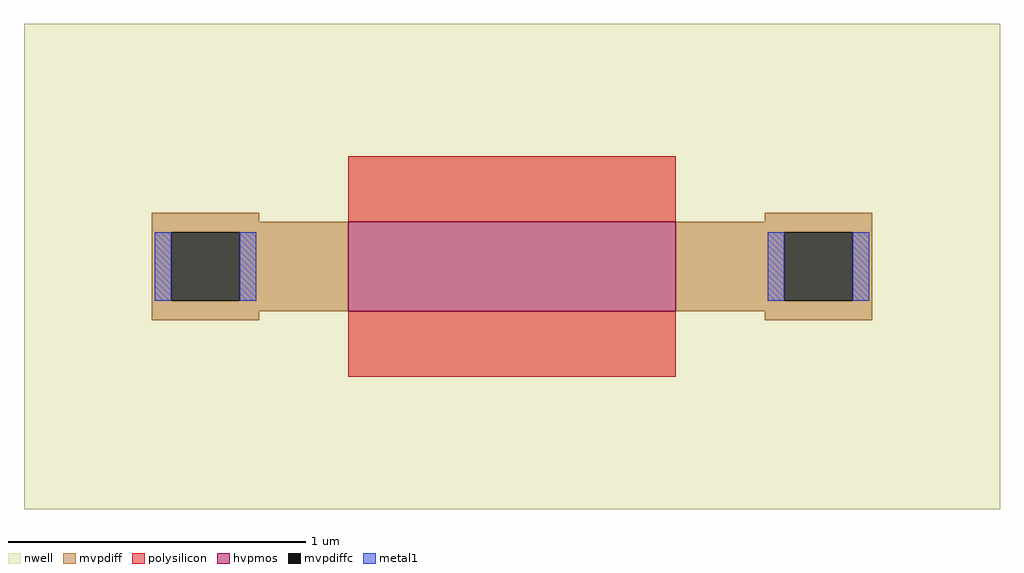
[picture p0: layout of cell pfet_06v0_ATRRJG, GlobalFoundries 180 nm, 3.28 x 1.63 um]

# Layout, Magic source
magic
tech gf180mcuD
magscale 1 10
<< nwell >>
rect -328 -163 328 163
<< hvpmos >>
rect -110 -30 110 30
<< mvpdiff >>
rect -242 30 -170 36
rect 170 30 242 36
rect -242 23 -110 30
rect -242 -23 -229 23
rect -183 -23 -110 23
rect -242 -30 -110 -23
rect 110 23 242 30
rect 110 -23 183 23
rect 229 -23 242 23
rect 110 -30 242 -23
rect -242 -36 -170 -30
rect 170 -36 242 -30
<< mvpdiffc >>
rect -229 -23 -183 23
rect 183 -23 229 23
<< polysilicon >>
rect -110 30 110 74
rect -110 -74 110 -30
<< metal1 >>
rect -240 -23 -229 23
rect -183 -23 -172 23
rect 172 -23 183 23
rect 229 -23 240 23
<< properties >>
string gencell pfet_06v0
string library gf180mcu
string parameters w 0.3 l 1.1 m 1 nf 1 diffcov 100 polycov 100 guard 0 glc 0 grc 0 gtc 0 gbc 0 tbcov 100 rlcov 100 topc 0 botc 0 poverlap 0 doverlap 0 lmin 0.55 wmin 0.3 class mosfet full_metal 0 compatible {pfet_03v3 pfet_05v0 pfet_06v0}
<< end >>
